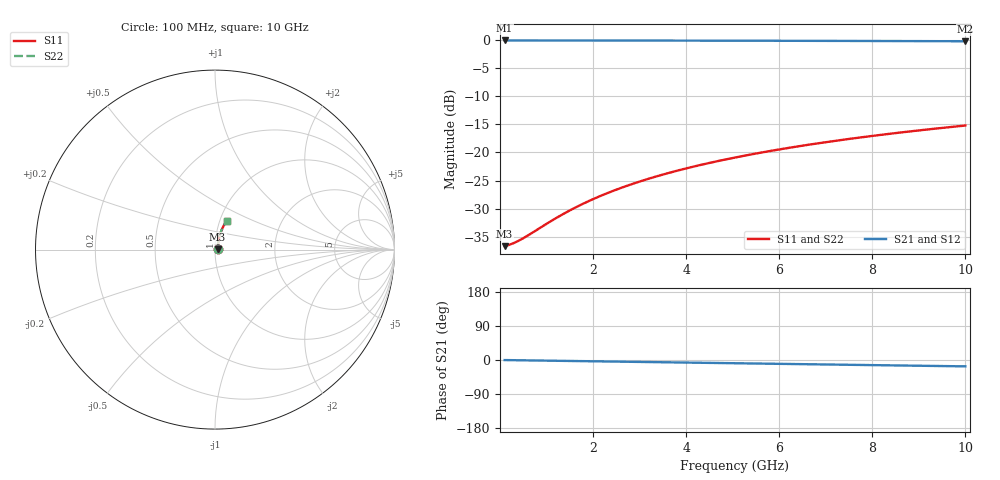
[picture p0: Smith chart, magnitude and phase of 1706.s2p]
# Hz S RI R 50.00
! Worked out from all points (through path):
!   100 points, 100 MHz to 10 GHz, reference 50 ohm
!   highest |S21| = -0.13 dB at 100 MHz (marker M1); lowest = -0.3 dB at 10 GHz (marker M2)
!   group delay of S21, straight-line fit = 4.67 ps
!   lowest |S11| = -36.7 dB at 100 MHz (marker M3), VSWR 1.03, Z = 51.5 + j0.178 ohm
!   |S11| at or under -10 dB: start of sweep to end of sweep
!   |S22| runs from -36.7 to -15.2 dB; largest |S21 - S12| = 0
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1e8  0.0146 0.00172  0.9854 -0.00292  0.9854 -0.00292  0.0146 0.00172
2e8  0.0147 0.00345  0.9853 -0.00583  0.9853 -0.00583  0.0147 0.00345
3e8  0.0148 0.00517  0.9852 -0.00875  0.9852 -0.00875  0.0148 0.00517
4e8  0.0149 0.00689  0.9851 -0.0117  0.9851 -0.0117  0.0149 0.00689
6e8  0.0151 0.0103  0.9849 -0.0175  0.9849 -0.0175  0.0151 0.0103
1e9  0.0155 0.0172  0.9844 -0.0291  0.9844 -0.0291  0.0155 0.0172
1.3e9  0.016 0.0224  0.9839 -0.0379  0.9839 -0.0379  0.016 0.0224
1.5e9  0.0163 0.0258  0.9835 -0.0437  0.9835 -0.0437  0.0163 0.0258
1.8e9  0.0169 0.0309  0.9829 -0.0524  0.9829 -0.0524  0.0169 0.0309
2.1e9  0.0175 0.036  0.9821 -0.0611  0.9821 -0.0611  0.0175 0.036
2.5e9  0.0185 0.0428  0.981 -0.0726  0.981 -0.0726  0.0185 0.0428
2.9e9  0.0197 0.0496  0.9797 -0.0842  0.9797 -0.0842  0.0197 0.0496
3.4e9  0.0213 0.058  0.9778 -0.0986  0.9778 -0.0986  0.0213 0.058
3.8e9  0.0228 0.0647  0.9761 -0.11  0.9761 -0.11  0.0228 0.0647
4.2e9  0.0245 0.0714  0.9742 -0.1215  0.9742 -0.1215  0.0245 0.0714
4.6e9  0.0263 0.078  0.9721 -0.1328  0.9721 -0.1328  0.0263 0.078
5.1e9  0.0288 0.0861  0.9693 -0.147  0.9693 -0.147  0.0288 0.0861
5.9e9  0.0332 0.099  0.9642 -0.1695  0.9642 -0.1695  0.0332 0.099
6.7e9  0.0383 0.1117  0.9584 -0.1917  0.9584 -0.1917  0.0383 0.1117
7.5e9  0.0439 0.124  0.952 -0.2136  0.952 -0.2136  0.0439 0.124
8.4e9  0.0508 0.1376  0.944 -0.2379  0.944 -0.2379  0.0508 0.1376
1e10  0.0648 0.1605  0.9279 -0.2801  0.9279 -0.2801  0.0648 0.1605
